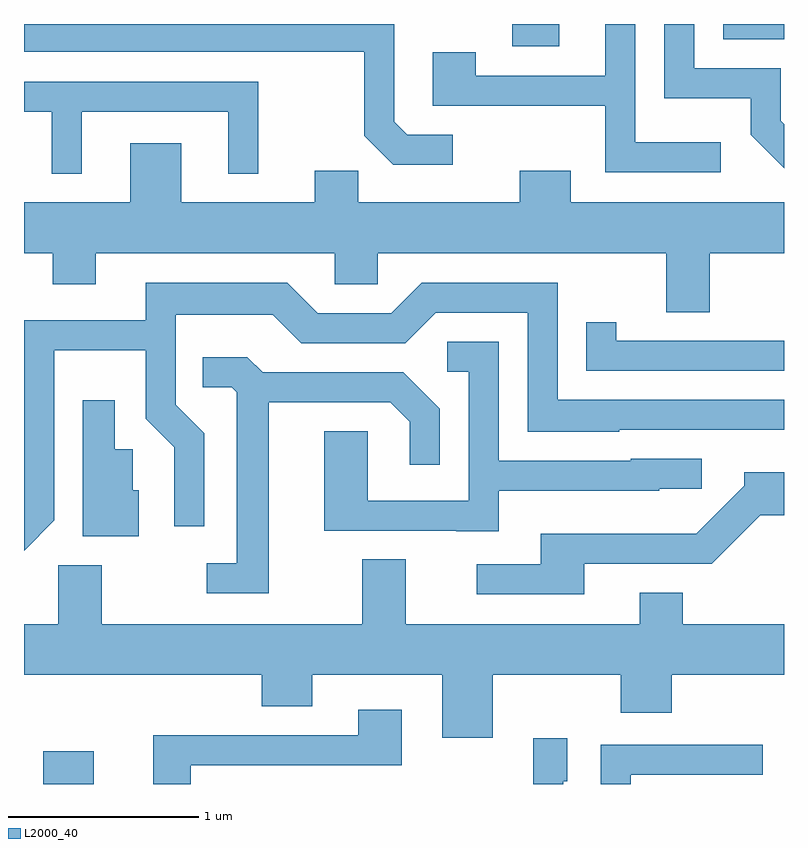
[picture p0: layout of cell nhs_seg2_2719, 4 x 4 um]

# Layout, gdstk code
import gdstk
lib = gdstk.Library(unit=1e-6, precision=1e-09)
def R(c, l, rs):  # rectangles x0, y0, x1, y1
    for r in rs: c.add(gdstk.rectangle(r[:2], r[2:], *l))
def P(c, l, *ps):  # polygons
    for p in ps: c.add(gdstk.Polygon(p, *l))
L2000_40 = (2000, 40)

nhs_seg2_2719 = lib.new_cell('nhs_seg2_2719')
R(nhs_seg2_2719, L2000_40, [(265.711,987.802,265.979,987.974), (268.181,991.686,268.429,991.802), (269.291,991.721,269.611,991.802)])
P(nhs_seg2_2719, L2000_40, [(269.611,991.275),(269.594,991.292),(269.594,991.569),(269.139,991.569),(269.139,991.802),(268.981,991.802),(268.981,991.411),(269.436,991.411),(269.436,991.219),(269.611,991.044)],
  [(269.278,991.179),(268.829,991.179),(268.829,991.802),(268.671,991.802),(268.671,991.529),(267.989,991.529),(267.989,991.654),(267.761,991.654),(267.761,991.371),(268.671,991.371),(268.671,991.021),(269.278,991.021)],
  [(267.868,991.219),(267.627,991.219),(267.559,991.287),(267.559,991.802),(265.611,991.802),(265.611,991.656),(267.401,991.656),(267.401,991.214),(267.554,991.061),(267.868,991.061)],
  [(265.914,991.341),(266.686,991.341),(266.686,991.013),(266.844,991.013),(266.844,991.499),(265.611,991.499),(265.611,991.341),(265.756,991.341),(265.756,991.013),(265.914,991.013)],
  [(269.219,990.596),(269.611,990.596),(269.611,990.864),(268.489,990.864),(268.489,991.029),(268.221,991.029),(268.221,990.864),(267.369,990.864),(267.369,991.029),(267.141,991.029),(267.141,990.864),(266.439,990.864),(266.439,991.174),(266.171,991.174),(266.171,990.864),(265.611,990.864),(265.611,990.596),(265.761,990.596),(265.761,990.431),(265.989,990.431),(265.989,990.596),(267.246,990.596),(267.246,990.431),(267.474,990.431),(267.474,990.596),(268.991,990.596),(268.991,990.286),(269.219,990.286)],
  [(265.769,989.189),(265.769,990.086),(266.251,990.086),(266.251,989.724),(266.401,989.574),(266.401,989.158),(266.559,989.158),(266.559,989.647),(266.409,989.797),(266.409,990.271),(266.919,990.271),(267.069,990.121),(267.617,990.121),(267.777,990.281),(268.261,990.281),(268.261,989.656),(268.745,989.656),(268.745,989.666),(269.611,989.666),(269.611,989.824),(268.419,989.824),(268.419,990.439),(267.704,990.439),(267.544,990.279),(267.157,990.279),(266.997,990.439),(266.251,990.439),(266.251,990.244),(265.611,990.244),(265.611,989.03)],
  [(269.611,990.134),(268.729,990.134),(268.729,990.233),(268.571,990.233),(268.571,989.976),(269.611,989.976)],
  [(268.109,989.346),(268.955,989.346),(268.955,989.356),(269.178,989.356),(269.178,989.514),(268.805,989.514),(268.805,989.504),(268.109,989.504),(268.109,990.129),(267.838,990.129),(267.838,989.971),(267.951,989.971),(267.951,989.294),(267.419,989.294),(267.419,989.659),(267.191,989.659),(267.191,989.136),(267.885,989.136),(267.885,989.131),(268.109,989.131)],
  [(266.899,989.811),(267.539,989.811),(267.641,989.709),(267.641,989.483),(267.799,989.483),(267.799,989.777),(267.607,989.969),(266.867,989.969),(266.787,990.049),(266.553,990.049),(266.553,989.891),(266.704,989.891),(266.731,989.864),(266.731,988.964),(266.573,988.964),(266.573,988.806),(266.899,988.806)],
  [(266.214,989.349),(266.184,989.349),(266.184,989.564),(266.089,989.564),(266.089,989.823),(265.921,989.823),(265.921,989.106),(266.214,989.106)],
  [(268.559,988.961),(269.232,988.961),(269.487,989.216),(269.611,989.216),(269.611,989.444),(269.401,989.444),(269.401,989.372),(269.149,989.119),(268.331,989.119),(268.331,988.959),(267.993,988.959),(267.993,988.801),(268.559,988.801)],
  [(268.079,988.376),(268.751,988.376),(268.751,988.176),(269.019,988.176),(269.019,988.376),(269.611,988.376),(269.611,988.644),(269.079,988.644),(269.079,988.809),(268.851,988.809),(268.851,988.644),(267.619,988.644),(267.619,988.984),(267.391,988.984),(267.391,988.644),(266.019,988.644),(266.019,988.954),(265.791,988.954),(265.791,988.644),(265.611,988.644),(265.611,988.376),(266.861,988.376),(266.861,988.211),(267.129,988.211),(267.129,988.376),(267.811,988.376),(267.811,988.046),(268.079,988.046)],
  [(266.489,987.901),(267.599,987.901),(267.599,988.194),(267.371,988.194),(267.371,988.059),(266.291,988.059),(266.291,987.802),(266.489,987.802)],
  [(268.449,987.816),(268.469,987.816),(268.469,988.044),(268.291,988.044),(268.291,987.802),(268.449,987.802)],
  [(268.804,987.851),(269.498,987.851),(269.498,988.009),(268.646,988.009),(268.646,987.802),(268.804,987.802)])

lib.write_gds('nhs_seg2_2719.gds')
